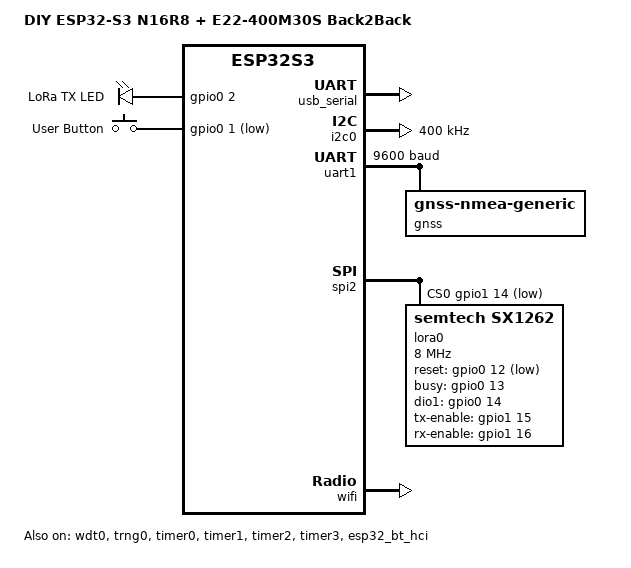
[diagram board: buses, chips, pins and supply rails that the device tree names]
/* SPDX-License-Identifier: MIT */
/*
 * DIY ESP32-S3 N16R8 + E22-400M30S Back2Back.
 *
 * PSRAM is deliberately not enabled: GPIO46 is the LoRa NSS line.
 * Radio: SX1268, SPI2 SCK=9 MISO=11 MOSI=10, NSS=46, DIO1=14,
 * BUSY=13, RESET=12, TXEN=47, RXEN=48. DIO2-TXEN jumper is removed.
 */

/dts-v1/;

#include <espressif/esp32s3/esp32s3_wroom_n16.dtsi>
#include "diy_esp32s3_n16r8_e22_back2back-pinctrl.dtsi"
#include <zephyr/dt-bindings/input/input-event-codes.h>
#include <zephyr/dt-bindings/i2c/i2c.h>
#include <zephyr/dt-bindings/lora/sx126x.h>
#include <espressif/partitions_0x0_amp_16M.dtsi>

/ {
	model = "DIY ESP32-S3 N16R8 + E22-400M30S Back2Back";
	compatible = "diy,esp32s3-n16r8-e22-back2back";

	chosen {
		zephyr,sram = &sram1;
		zephyr,console = &usb_serial;
		zephyr,shell-uart = &usb_serial;
		zephyr,flash = &flash0;
		zephyr,code-partition = &slot0_partition;
		zephyr,bt-hci = &esp32_bt_hci;
	};

	aliases {
		led0 = &tx_led;
		lora0 = &lora0;
		sw0 = &user_button;
		watchdog0 = &wdt0;
	};

	leds {
		compatible = "gpio-leds";
		tx_led: tx_led {
			gpios = <&gpio0 2 GPIO_ACTIVE_HIGH>;
			label = "LoRa TX LED";
		};
	};

	buttons: buttons {
		compatible = "gpio-keys";
		user_button: user_button {
			gpios = <&gpio0 1 (GPIO_PULL_UP | GPIO_ACTIVE_LOW)>;
			label = "User Button";
			zephyr,code = <INPUT_KEY_0>;
		};
	};
};

&gpio0 { status = "okay"; };
&gpio1 { status = "okay"; };
&wdt0 { status = "okay"; };
&trng0 { status = "okay"; };
&usb_serial { status = "okay"; };

&i2c0 {
	status = "okay";
	clock-frequency = <I2C_BITRATE_FAST>;
	pinctrl-0 = <&i2c0_default>;
	pinctrl-names = "default";
};

&uart1 {
	status = "okay";
	current-speed = <9600>;
	pinctrl-0 = <&uart1_default>;
	pinctrl-names = "default";

	gnss: gnss-nmea-generic {
		compatible = "gnss-nmea-generic";
	};
};

&spi2 {
	#address-cells = <1>;
	#size-cells = <0>;
	status = "okay";
	pinctrl-0 = <&spim2_default>;
	pinctrl-names = "default";
	cs-gpios = <&gpio1 14 GPIO_ACTIVE_LOW>; /* GPIO46 */

	lora0: modem@0 {
		/* The native SX126x driver registers SX1268 through the SX1262
		 * compatible; both use the same standalone HAL path. */
		compatible = "semtech,sx1262";
		reg = <0>;
		spi-max-frequency = <8000000>;
		reset-gpios = <&gpio0 12 (GPIO_OPEN_DRAIN | GPIO_ACTIVE_LOW)>;
		busy-gpios = <&gpio0 13 GPIO_ACTIVE_HIGH>;
		dio1-gpios = <&gpio0 14 (GPIO_PULL_DOWN | GPIO_ACTIVE_HIGH)>;
		tx-enable-gpios = <&gpio1 15 GPIO_ACTIVE_HIGH>; /* GPIO47 */
		rx-enable-gpios = <&gpio1 16 GPIO_ACTIVE_HIGH>; /* GPIO48 */
		dio3-tcxo-voltage = <SX126X_DIO3_TCXO_1V8>;
		tcxo-power-startup-delay-ms = <10>;
		startup-delay-ms = <10>;
		rx-boosted;
	};
};

&timer0 { status = "okay"; };
&timer1 { status = "okay"; };
&timer2 { status = "okay"; };
&timer3 { status = "okay"; };
&esp32_bt_hci { status = "okay"; };
&wifi { status = "okay"; };
